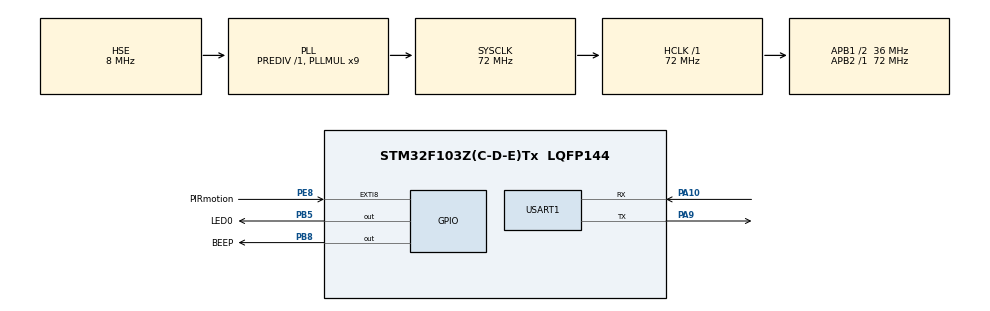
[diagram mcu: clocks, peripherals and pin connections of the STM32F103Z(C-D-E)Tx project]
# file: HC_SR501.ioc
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Mcu.Family=STM32F1
RCC.PLLSourceVirtual=RCC_PLLSOURCE_HSE
PA10.Mode=Asynchronous
PE8.GPIO_PuPd=GPIO_PULLUP
PB8.GPIO_PuPd=GPIO_PULLDOWN
RCC.APB1CLKDivider=RCC_HCLK_DIV2
RCC.SYSCLKSource=RCC_SYSCLKSOURCE_PLLCLK
ProjectManager.StackSize=0x400
PA13.Signal=SYS_JTMS-SWDIO
PB8.GPIO_Label=BEEP
PA9.Mode=Asynchronous
ProjectManager.TargetToolchain=STM32CubeIDE
RCC.HCLKFreq_Value=72000000
PE8.GPIO_Label=PIRmotion
RCC.APB2TimFreq_Value=72000000
PA9.Signal=USART1_TX
PB5.PinState=GPIO_PIN_SET
OSC_IN.Signal=RCC_OSC_IN
RCC.USBFreq_Value=72000000
OSC_OUT.Mode=HSE-External-Oscillator
OSC_OUT.Signal=RCC_OSC_OUT
RCC.AHBFreq_Value=72000000
board=custom
RCC.PLLMUL=RCC_PLL_MUL9
PE8.GPIO_ModeDefaultEXTI=GPIO_MODE_IT_RISING_FALLING
RCC.APB2Freq_Value=72000000
PE8.Signal=GPXTI8
PA14.Mode=Serial_Wire
PA13.Mode=Serial_Wire
Mcu.Name=STM32F103Z(C-D-E)Tx
RCC.SYSCLKFreq_VALUE=72000000
Mcu.Package=LQFP144
PB5.Signal=GPIO_Output
OSC_IN.Mode=HSE-External-Oscillator
PB5.GPIO_PuPd=GPIO_PULLUP
USART1.VirtualMode=VM_ASYNC
NVIC.EXTI9_5_IRQn=true\:0\:0\:false\:false\:true\:true\:true
PA10.Signal=USART1_RX
PA14.Signal=SYS_JTCK-SWCLK
ProjectManager.HeapSize=0x200
PB5.GPIO_Speed=GPIO_SPEED_FREQ_HIGH
NVIC.PriorityGroup=NVIC_PRIORITYGROUP_4
PB5.GPIO_Label=LED0
RCC.APB1TimFreq_Value=72000000
PB8.Signal=GPIO_Output
RCC.APB1Freq_Value=36000000
PB8.GPIO_Speed=GPIO_SPEED_FREQ_HIGH

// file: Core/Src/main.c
/* USER CODE BEGIN Header */
/**
 ******************************************************************************
 * @file           : main.c
 * @brief          : Main program body
 ******************************************************************************
 * @attention
 *
 * <h2><center>&copy; Copyright (c) 2021 STMicroelectronics.
 * All rights reserved.</center></h2>
 *
 * This software component is licensed by ST under BSD 3-Clause license,
 * the "License"; You may not use this file except in compliance with the
 * License. You may obtain a copy of the License at:
 *                        opensource.org/licenses/BSD-3-Clause
 *
 ******************************************************************************
 */
/* USER CODE END Header */
#include "main.h"
#include "usart.h"
#include "gpio.h"

/* USER CODE BEGIN Includes */
#include "hc_sr501.h"
/* USER CODE END Includes */

void SystemClock_Config(void);

/* USER CODE BEGIN 0 */
void HAL_GPIO_EXTI_Callback(uint16_t GPIO_Pin) {
	if (GPIO_Pin == PIRmotion_Pin) {
		if (PIRmotion == GPIO_PIN_SET) {
			HAL_Delay(3000);
			if (PIRmotion == GPIO_PIN_SET) {
				printf("SOMEONE BROKE IN!!!!!!!!");
				LED0_ON();
			} else {
				LED0_OFF();
			}
			HAL_Delay(500);
		}
	}
}
/* USER CODE END 0 */

int main(void)
{

  /* MCU Configuration--------------------------------------------------------*/

  /* Reset of all peripherals, Initializes the Flash interface and the Systick. */
  HAL_Init();

  /* Configure the system clock */
  SystemClock_Config();

  /* Initialize all configured peripherals */
  MX_GPIO_Init();
  MX_USART1_UART_Init();

  /* Infinite loop */
	while (1) {

	}
}

void SystemClock_Config(void)
{
  RCC_OscInitTypeDef RCC_OscInitStruct = {0};
  RCC_ClkInitTypeDef RCC_ClkInitStruct = {0};

  /** Initializes the RCC Oscillators according to the specified parameters
  * in the RCC_OscInitTypeDef structure.
  */
  RCC_OscInitStruct.OscillatorType = RCC_OSCILLATORTYPE_HSE;
  RCC_OscInitStruct.HSEState = RCC_HSE_ON;
  RCC_OscInitStruct.HSEPredivValue = RCC_HSE_PREDIV_DIV1;
  RCC_OscInitStruct.HSIState = RCC_HSI_ON;
  RCC_OscInitStruct.PLL.PLLState = RCC_PLL_ON;
  RCC_OscInitStruct.PLL.PLLSource = RCC_PLLSOURCE_HSE;
  RCC_OscInitStruct.PLL.PLLMUL = RCC_PLL_MUL9;
  if (HAL_RCC_OscConfig(&RCC_OscInitStruct) != HAL_OK)
  {
    Error_Handler();
  }
  /** Initializes the CPU, AHB and APB buses clocks
  */
  RCC_ClkInitStruct.ClockType = RCC_CLOCKTYPE_HCLK|RCC_CLOCKTYPE_SYSCLK
                              |RCC_CLOCKTYPE_PCLK1|RCC_CLOCKTYPE_PCLK2;
  RCC_ClkInitStruct.SYSCLKSource = RCC_SYSCLKSOURCE_PLLCLK;
  RCC_ClkInitStruct.AHBCLKDivider = RCC_SYSCLK_DIV1;
  RCC_ClkInitStruct.APB1CLKDivider = RCC_HCLK_DIV2;
  RCC_ClkInitStruct.APB2CLKDivider = RCC_HCLK_DIV1;

  if (HAL_RCC_ClockConfig(&RCC_ClkInitStruct, FLASH_LATENCY_2) != HAL_OK)
  {
    Error_Handler();
  }
}

/* USER CODE BEGIN 4 */
// 须在头文件中添加 #include <stdio.h>
//////////////////////////////////////////////////////////////////
// 加入以下代码,支持printf函数,而不需要选择use MicroLIB
// MDK中同样定义了 __GNUC__，使用__ARMCC_VERSION 或  __CC_ARM 区分MDK和STM32CubeIDE
// MDK预定义宏，详见 ：https://www.keil.com/support/man/docs/armcc/armcc_chr1359125007083.htm
#ifdef __CC_ARM // 或 #ifdef __ARMCC_VERSION
  #define PUTCHAR_PROTOTYPE int fputc(int ch, FILE *f)
#else
#define PUTCHAR_PROTOTYPE int __io_putchar(int ch)
#endif
#if 1

FILE __stdout;
//定义_sys_exit()以避免使用半主机模式
void _sys_exit(int x) {
	x = x;
}
//重定义fputc函数
PUTCHAR_PROTOTYPE {
	// 具体哪个串口可以更改huart2为其它串口
	// HAL_UART_Transmit(&huart2, (uint8_t *)&ch, 1 , 0xffff);
	while ((USART1->SR & 0X40) == 0) {
	}; //循环发送,直到发送完毕
	USART1->DR = (uint8_t) ch;

//  while ((USART2->SR & 0X40) == 0) {
//  }; //循环发送,直到发送完毕
//  USART2->DR = (uint8_t) ch;

	return ch;
}
#endif

/* USER CODE END 4 */

void Error_Handler(void)
{
	__disable_irq();
	while (1) {
	}
}

/************************ (C) COPYRIGHT STMicroelectronics *****END OF FILE****/
